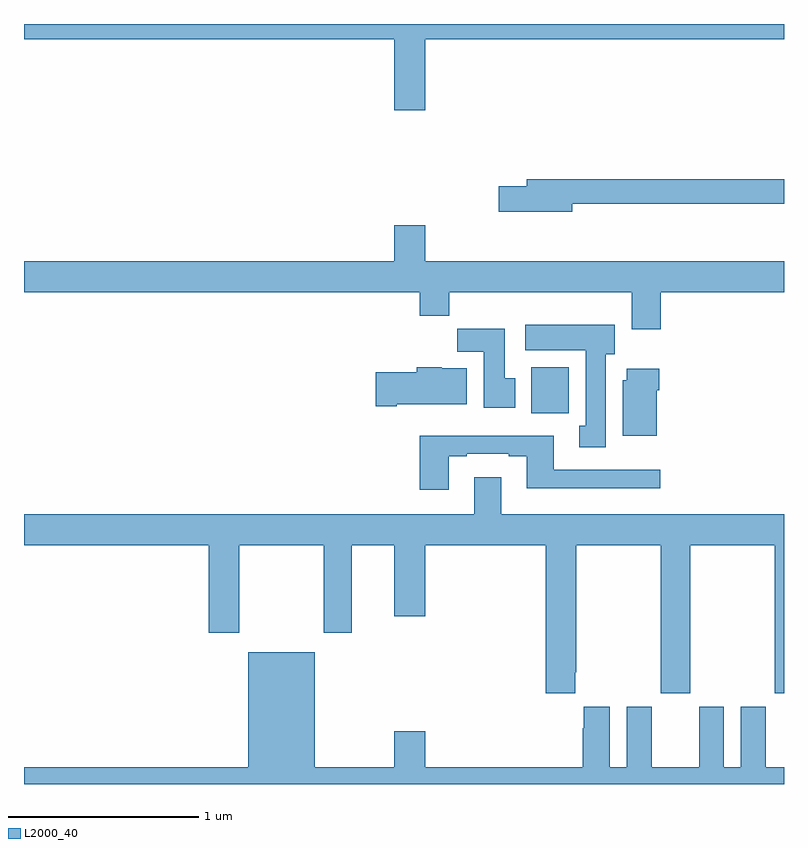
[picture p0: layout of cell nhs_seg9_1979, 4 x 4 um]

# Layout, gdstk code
import gdstk
lib = gdstk.Library(unit=1e-6, precision=1e-09)
def R(c, l, rs):  # rectangles x0, y0, x1, y1
    for r in rs: c.add(gdstk.rectangle(r[:2], r[2:], *l))
def P(c, l, *ps):  # polygons
    for p in ps: c.add(gdstk.Polygon(p, *l))
L2000_40 = (2000, 40)

nhs_seg9_1979 = lib.new_cell('nhs_seg9_1979')
R(nhs_seg9_1979, L2000_40, [(225.671,1194.452,225.868,1194.694)])
P(nhs_seg9_1979, L2000_40, [(225.112,1196.42),(227,1196.42),(227,1196.5),(223,1196.5),(223,1196.42),(224.948,1196.42),(224.948,1196.046),(225.112,1196.046)],
  [(225.886,1195.554),(227,1195.554),(227,1195.682),(225.647,1195.682),(225.647,1195.646),(225.498,1195.646),(225.498,1195.511),(225.886,1195.511)],
  [(226.352,1195.088),(227,1195.088),(227,1195.252),(225.112,1195.252),(225.112,1195.441),(224.948,1195.441),(224.948,1195.252),(223,1195.252),(223,1195.088),(225.083,1195.088),(225.083,1194.964),(225.239,1194.964),(225.239,1195.088),(226.199,1195.088),(226.199,1194.894),(226.352,1194.894)],
  [(226.063,1194.762),(226.108,1194.762),(226.108,1194.916),(225.639,1194.916),(225.639,1194.782),(225.956,1194.782),(225.956,1194.386),(225.923,1194.386),(225.923,1194.273),(226.063,1194.273)],
  [(225.586,1194.636),(225.529,1194.636),(225.529,1194.895),(225.28,1194.895),(225.28,1194.776),(225.419,1194.776),(225.419,1194.48),(225.586,1194.48)],
  [(224.962,1194.5),(225.331,1194.5),(225.331,1194.688),(225.198,1194.688),(225.198,1194.694),(225.068,1194.694),(225.068,1194.666),(224.85,1194.666),(224.85,1194.488),(224.962,1194.488)],
  [(226.33,1194.572),(226.343,1194.572),(226.343,1194.685),(226.172,1194.685),(226.172,1194.624),(226.151,1194.624),(226.151,1194.332),(226.33,1194.332)],
  [(225.235,1194.225),(225.331,1194.225),(225.331,1194.237),(225.551,1194.237),(225.551,1194.225),(225.647,1194.225),(225.647,1194.056),(226.348,1194.056),(226.348,1194.153),(225.787,1194.153),(225.787,1194.334),(225.083,1194.334),(225.083,1194.048),(225.235,1194.048)],
  [(225.901,1193.089),(225.906,1193.089),(225.906,1193.756),(226.351,1193.756),(226.351,1192.977),(226.506,1192.977),(226.506,1193.756),(226.951,1193.756),(226.951,1192.977),(227,1192.977),(227,1193.92),(225.511,1193.92),(225.511,1194.115),(225.371,1194.115),(225.371,1193.92),(223,1193.92),(223,1193.756),(223.973,1193.756),(223.973,1193.295),(224.133,1193.295),(224.133,1193.756),(224.578,1193.756),(224.578,1193.295),(224.725,1193.295),(224.725,1193.756),(224.948,1193.756),(224.948,1193.382),(225.112,1193.382),(225.112,1193.756),(225.746,1193.756),(225.746,1192.977),(225.901,1192.977)],
  [(226.172,1192.906),(226.172,1192.588),(226.084,1192.588),(226.084,1192.906),(225.947,1192.906),(225.947,1192.793),(225.941,1192.793),(225.941,1192.588),(225.112,1192.588),(225.112,1192.777),(224.948,1192.777),(224.948,1192.588),(224.53,1192.588),(224.53,1193.194),(224.18,1193.194),(224.18,1192.588),(223,1192.588),(223,1192.5),(227,1192.5),(227,1192.588),(226.903,1192.588),(226.903,1192.906),(226.772,1192.906),(226.772,1192.588),(226.684,1192.588),(226.684,1192.906),(226.553,1192.906),(226.553,1192.588),(226.303,1192.588),(226.303,1192.906)])

lib.write_gds('nhs_seg9_1979.gds')
